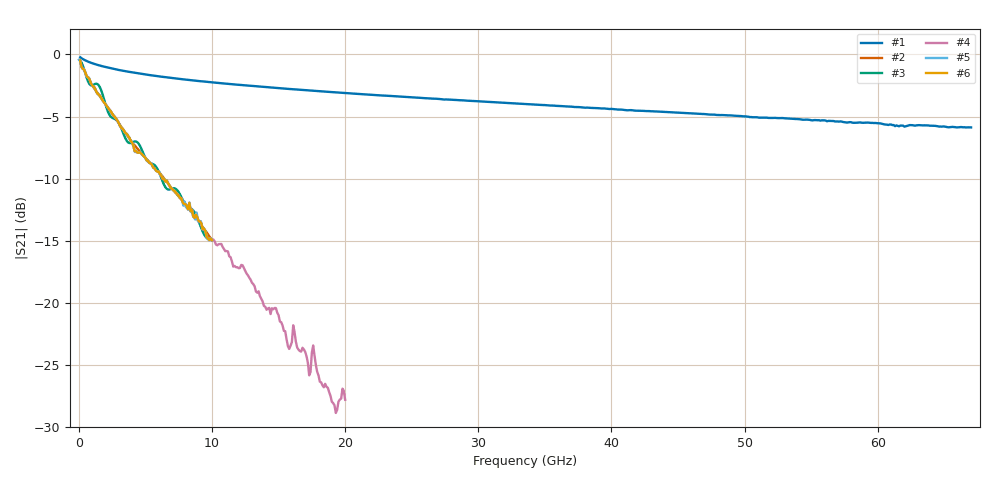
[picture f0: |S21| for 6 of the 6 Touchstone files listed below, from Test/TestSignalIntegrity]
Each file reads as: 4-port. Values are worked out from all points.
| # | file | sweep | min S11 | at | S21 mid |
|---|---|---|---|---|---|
| 1 | RF Cable 0004 edited.s4p | 110.1 MHz to 67 GHz | -76.1 dB | 29.95 GHz | -4.0 dB at 33.56 GHz |
| 2 | Test1.s4p | 1 GHz to 10 GHz | -28.1 dB | 5 GHz | -9.4 dB at 6 GHz |
| 3 | Test2.s4p | 100 MHz to 10 GHz | -42.1 dB | 300 MHz | -8.5 dB at 5.1 GHz |
| 4 | TestDut.s4p | 100 MHz to 20 GHz | -43.7 dB | 1.2 GHz | -14.9 dB at 10.1 GHz |
| 5 | TestSParameterFile_TestSParameterFile_testRLC5.s4p | 10 MHz to 10 GHz | -43.7 dB | 1.2 GHz | -8.3 dB at 5.01 GHz |
| 6 | TestSParameterFile_TestSParameterFile_testRLC6.s4p | 100 MHz to 10 GHz | -43.7 dB | 1.2 GHz | -8.5 dB at 5.1 GHz |
